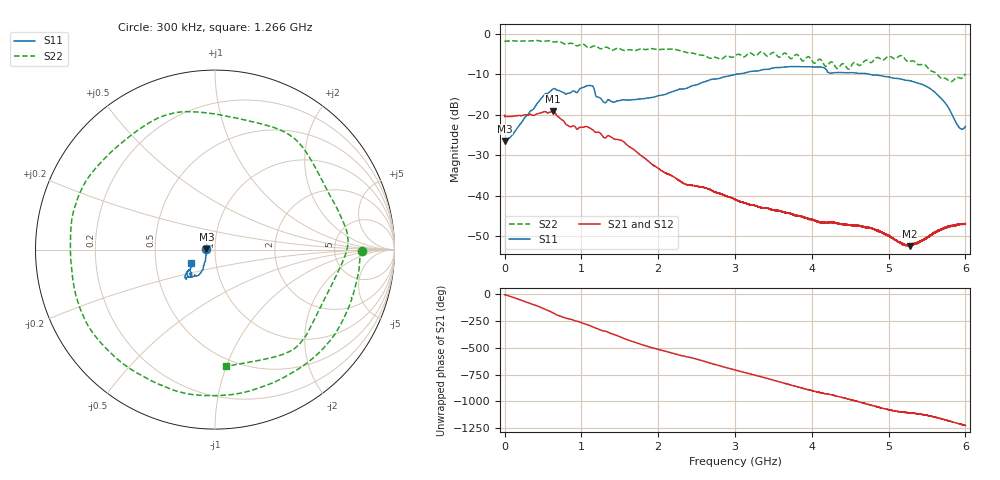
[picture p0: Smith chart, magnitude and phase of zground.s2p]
!  8/12/2020  02:40:45
! Ref Plane: 0.000 mm
# MHZ S MA R  50
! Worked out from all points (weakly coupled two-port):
!   10001 points, 300 kHz to 6 GHz, reference 50 ohm
!   highest |S21| = -19.09 dB at 624.3 MHz (marker M1); lowest = -52.4 dB at 5.277 GHz (marker M2)
!   lowest |S11| = -26.4 dB at 900 kHz (marker M3), VSWR 1.10, Z = 45.4 + j0.103 ohm
!   |S11| at or under -10 dB: start of sweep to 3.016 GHz; 4.75 GHz to end of sweep
!   |S22| runs from -11.9 to -1.7 dB; largest |S21 - S12| = 0.002
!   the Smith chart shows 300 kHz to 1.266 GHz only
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0.3  0.0483 177.3  0.09851 -1.2  0.09691 -1.1  0.8178 -0.5
0.9  0.04773 178.6  0.09459 -0.7  0.09562 -0.6  0.8104 -0.7
279.886  0.09649 -128.4  0.1002 -70.9  0.1002 -70.8  0.8178 -100.3
453.8773  0.1494 -121.6  0.1047 -115.6  0.1046 -115.3  0.8153 -162.6
624.2688  0.2066 -131.8  0.111 -169.8  0.1107 -169.7  0.7953 138.3
1000.45  0.2139 -134.1  0.07016 95.3  0.07005 95.5  0.74 8.5
1287.836  0.144 -151.1  0.05305 17.9  0.0529 17.9  0.6661 -92.6
1513.424  0.1512 -173.8  0.04863 -39.2  0.0486 -39.1  0.6448 -169.0
1764.212  0.1567 166.5  0.03208 -104.7  0.03205 -104.5  0.6466 98.9
2000.6  0.1722 164.6  0.02191 -154.6  0.02186 -154.6  0.6352 20.4
2311.384  0.2074 179.6  0.01462 146.1  0.01464 146.1  0.6082 -76.2
2589.771  0.2535 -162.9  0.01273 95.8  0.01268 95.8  0.5423 -173.9
3000.15  0.313 -139.8  0.009003 11.6  0.008997 12.3  0.531 28.2
3354.132  0.3585 -117.2  0.007156 -53.4  0.007118 -53.7  0.5975 -81.9
3652.317  0.3879 -97.1  0.006192 -112.8  0.00619 -112.8  0.5757 -177.0
4000.3  0.39 -71.8  0.005097 179.5  0.005077 -180.0  0.4691 73.4
4413.079  0.3304 -29.1  0.004435 111.6  0.004415 112.2  0.4253 -80.3
4703.465  0.3225 -5.5  0.004113 56.5  0.004028 57.3  0.4714 170.8
5000.45  0.2924 20.4  0.003258 0.9  0.003223 0.4  0.526 79.7
5277.036  0.2628 45.4  0.0024 -28.2  0.002504 -29.6  0.4536 3.3
5578.221  0.1979 70.9  0.003431 -64.4  0.003406 -64.1  0.3405 -92.7
6000  0.0717 178.6  0.004466 -147.2  0.004502 -146.9  0.3198 85.5
